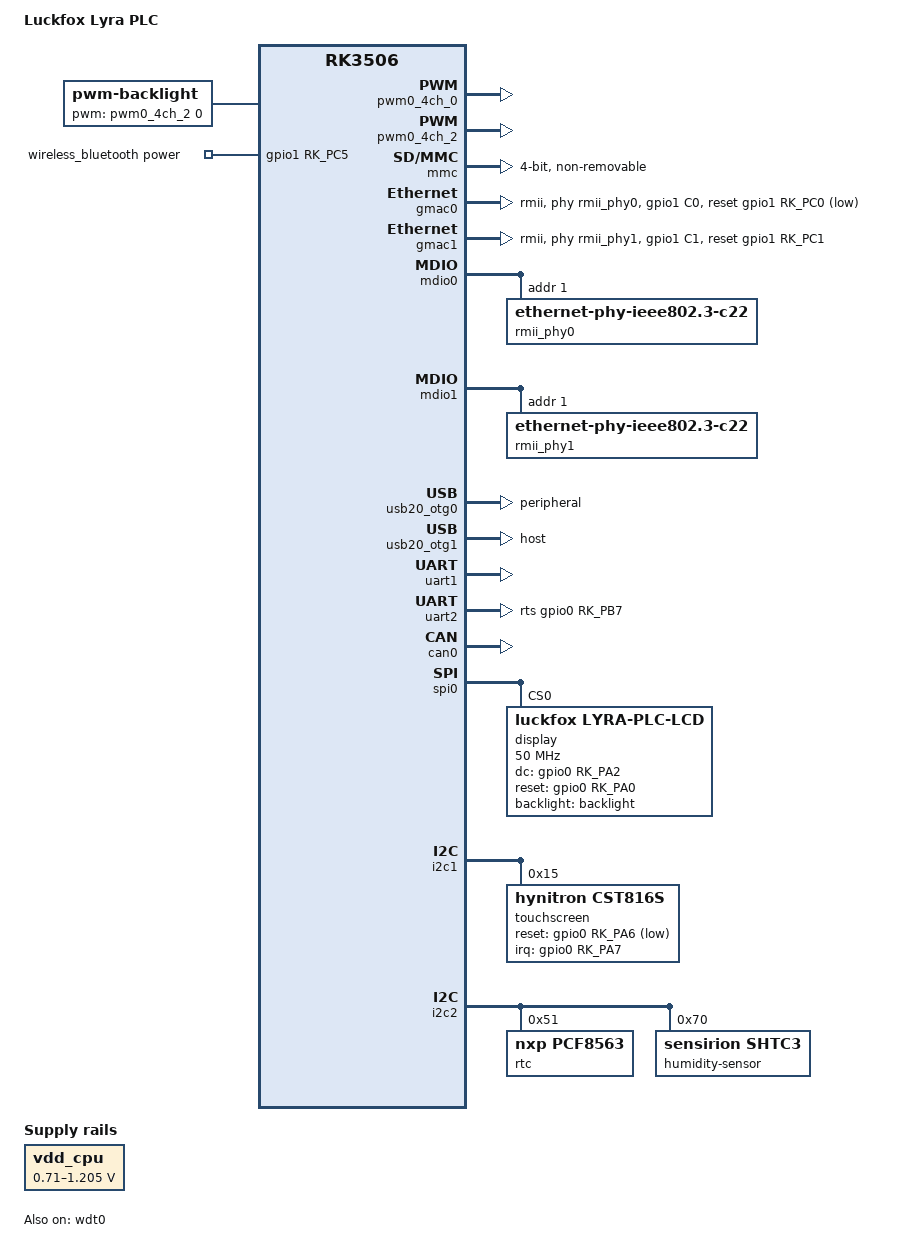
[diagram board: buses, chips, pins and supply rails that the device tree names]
// SPDX-License-Identifier: (GPL-2.0+ OR MIT)
/*
 * Luckfox Lyra PLC: RK3506B, 512 MB DDR3L, 8 GB eMMC, 2x 10/100 Ethernet
 * (CH182H PHYs), RS232 + RS485/RS422 + CAN on the screw terminal, two relays,
 * 1.9" 170x320 ST7789V LCD with CST816 touch, PCF8563-compatible RTC, SHTC3
 * temperature/humidity sensor, AIC8800DC WiFi 6 / BT 5.2 behind a CH334 USB
 * hub, and a PWM-controlled CPU buck.
 *
 * Luckfox publishes no schematic or DTS for this board. Every pin below was
 * taken from the device tree of Luckfox's own Debian image
 * (/sys/firmware/fdt, kernel 6.1.99) on a running board, plus the GPIO
 * numbers their plc_app keeps in /userdata/plc_config.json for the parts it
 * drives from userspace (relays, RS485 driver enable).
 */

/dts-v1/;

#include <dt-bindings/interrupt-controller/irq.h>
#include <dt-bindings/pwm/pwm.h>
#include "rk3506-luckfox-lyra-ultra.dtsi"

/ {
	model = "Luckfox Lyra PLC";
	compatible = "luckfox,lyra-plc", "rockchip,rk3506";

	aliases {
		rtc0 = &rtc;
	};

	backlight: backlight {
		compatible = "pwm-backlight";
		/* 40 kHz, inverted: Luckfox's values, measured in debugfs/pwm. */
		pwms = <&pwm0_4ch_2 0 25000 PWM_POLARITY_INVERTED>;
		brightness-levels = <0 255>;
		num-interpolated-steps = <255>;
		default-brightness-level = <200>;
	};

	wireless_bluetooth: wireless-bluetooth {
		compatible = "bluetooth-platdata";
		BT,power_gpio = <&gpio1 RK_PC5 GPIO_ACTIVE_HIGH>;
		status = "okay";
	};
};

/*
 * The CPU rail is a PWM-controlled buck on this board, not the fixed 0.9 V
 * the Lyra Pi/Ultra dtsi describes. Left as regulator-fixed, cpufreq would
 * run the OPP table up to 1.5 GHz without ever raising the voltage. Values
 * are Luckfox's: continuous mode over the full duty range, 0.71..1.205 V.
 */
&vdd_cpu {
	compatible = "pwm-regulator";
	pwms = <&pwm0_4ch_0 0 5000 PWM_POLARITY_INVERTED>;
	regulator-min-microvolt = <710000>;
	regulator-max-microvolt = <1205000>;
	regulator-init-microvolt = <1011000>;
	/delete-property/ regulator-type;
};

&pwm0_4ch_0 {
	pinctrl-names = "active";
	pinctrl-0 = <&rm_io21_pwm0_ch0>;
	status = "okay";
};

&pwm0_4ch_2 {
	pinctrl-names = "active";
	pinctrl-0 = <&rm_io5_pwm0_ch2>;
	status = "okay";
};

/* Names for the lines userspace drives, so libgpiod can find them by name. */
&gpio0 {
	gpio-line-names =
		/* A0-A7 */ "LCD_RST", "", "LCD_DC", "", "", "", "TP_RST", "TP_INT",
		/* B0-B7 */ "", "", "", "", "", "", "", "RS485_DE",
		/* C0-C7 */ "", "RELAY0", "RELAY1", "", "", "", "", "",
		/* D0-D7 */ "", "", "", "", "", "", "", "";
};

/**********media**********/
&mmc {
	/* eMMC (8 GB) on the single SDMMC controller; no card slot. */
	max-frequency = <52000000>;
	mmc-ddr-1_8v;
	bus-width = <4>;
	supports-emmc;
	cap-mmc-highspeed;
	disable-wp;
	non-removable;
	pinctrl-names = "default";
	pinctrl-0 = <&sdmmc_clk_pins &sdmmc_cmd_pins &sdmmc_bus4_pins>;
	status = "okay";
};

/**********ethernet**********/
/*
 * Same wiring as the Lyra Pi: two CH182H PHYs at MDIO address 1, 25 MHz
 * reference from CLK_MAC_OUT, resets on gpio1 C0 (low) / C1 (high). The
 * clk_mac_refout and widened reset timing are the Lyra Pi cold-boot fixes;
 * see rk3506b-luckfox-lyra-pi.dts for the full reasoning.
 */
&gmac0 {
	clocks = <&cru CLK_MAC0>, <&cru CLK_MAC0_PTP>,
		 <&cru PCLK_MAC0>, <&cru ACLK_MAC0>,
		 <&cru CLK_MAC_OUT>;
	clock-names = "stmmaceth", "ptp_ref",
		      "pclk_mac", "aclk_mac",
		      "clk_mac_refout";
	phy-mode = "rmii";
	clock_in_out = "output";
	assigned-clocks = <&cru CLK_MAC_OUT>;
	assigned-clock-rates = <25000000>;
	snps,reset-gpio = <&gpio1 RK_PC0 GPIO_ACTIVE_LOW>;
	snps,reset-active-low;
	snps,reset-delays-us = <20000 20000 300000>;
	pinctrl-names = "default";
	pinctrl-0 = <&eth_clk0_25m_out_pins
		     &eth_rmii0_miim_pins
		     &eth_rmii0_tx_bus2_pins
		     &eth_rmii0_rx_bus2_pins
		     &eth_rmii0_clk_pins
		     &rmii0_rstn>;
	phy-handle = <&rmii_phy0>;
	status = "okay";
};

&gmac1 {
	clocks = <&cru CLK_MAC1>, <&cru CLK_MAC1_PTP>,
		 <&cru PCLK_MAC1>, <&cru ACLK_MAC1>,
		 <&cru CLK_MAC_OUT>;
	clock-names = "stmmaceth", "ptp_ref",
		      "pclk_mac", "aclk_mac",
		      "clk_mac_refout";
	phy-mode = "rmii";
	clock_in_out = "output";
	snps,reset-gpio = <&gpio1 RK_PC1 GPIO_ACTIVE_HIGH>;
	snps,reset-active-high;
	snps,reset-delays-us = <20000 20000 300000>;
	pinctrl-names = "default";
	pinctrl-0 = <&eth_clk1_25m_out_pins
		     &eth_rmii1_miim_pins
		     &eth_rmii1_tx_bus2_pins
		     &eth_rmii1_rx_bus2_pins
		     &eth_rmii1_clk_pins
		     &rmii1_rstn>;
	phy-handle = <&rmii_phy1>;
	status = "okay";
};

&mdio0 {
	rmii_phy0: phy@1 {
		compatible = "ethernet-phy-ieee802.3-c22";
		reg = <0x1>;
		clocks = <&cru CLK_MAC_OUT>;
		assigned-clocks = <&cru CLK_MAC_OUT>;
		assigned-clock-rates = <25000000>;
	};
};

&mdio1 {
	rmii_phy1: phy@1 {
		compatible = "ethernet-phy-ieee802.3-c22";
		reg = <0x1>;
		clocks = <&cru CLK_MAC_OUT>;
		assigned-clocks = <&cru CLK_MAC_OUT>;
		assigned-clock-rates = <25000000>;
	};
};

/**********usb**********/
/* USB-C: device/gadget port (and maskrom flashing). */
&usb20_otg0 {
	dr_mode = "peripheral";
	status = "okay";
};

/* CH334 hub: USB-A port + the on-board AIC8800DC. Must be host. */
&usb20_otg1 {
	dr_mode = "host";
	status = "okay";
};

/**********field bus**********/
/* RS232 on the screw terminal. */
&uart1 {
	pinctrl-names = "default";
	pinctrl-0 = <&rm_io10_uart1_tx &rm_io11_uart1_rx>;
	status = "okay";
};

/*
 * RS485 / RS422 on the screw terminal. The transceiver's driver enable is on
 * gpio0 B7. Luckfox toggles it from userspace; here the kernel's RS485 mode
 * drives it as RTS through mctrl_gpio, so it is correct for any application
 * (stty, Modbus libraries, ...) without timing games in userspace. Turn RS485
 * off with TIOCSRS485 to use the port as full-duplex RS422.
 */
&uart2 {
	pinctrl-names = "default";
	pinctrl-0 = <&rm_io14_uart2_tx &rm_io16_uart2_rx>;
	rts-gpios = <&gpio0 RK_PB7 GPIO_ACTIVE_HIGH>;
	linux,rs485-enabled-at-boot-time;
	rs485-rts-active-high;
	status = "okay";
};

&can0 {
	pinctrl-names = "default";
	pinctrl-0 = <&rm_io12_can0_tx &rm_io13_can0_rx>;
	status = "okay";
};

/**********display**********/
/*
 * 1.9" 170x320 IPS panel, ST7789V controller, write-only 4-wire SPI (no
 * MISO). Driven by the generic MIPI DBI DRM driver: the init sequence is the
 * firmware file named after the first compatible ("luckfox,lyra-plc-lcd.bin",
 * built by the lyra-plc-lcd-firmware recipe). The ST7789V's RAM is 240x320,
 * the glass is the middle 170 columns, so the panel starts at column 35 --
 * expressed as hback-porch, which is how panel-mipi-dbi takes offsets.
 */
&spi0 {
	pinctrl-names = "default";
	pinctrl-0 = <&rm_io1_spi0_clk &rm_io4_spi0_mosi &rm_io3_spi0_csn0>;
	status = "okay";

	display@0 {
		compatible = "luckfox,lyra-plc-lcd", "panel-mipi-dbi-spi";
		reg = <0>;
		spi-max-frequency = <50000000>;
		dc-gpios = <&gpio0 RK_PA2 GPIO_ACTIVE_HIGH>;
		/*
		 * GPIO_ACTIVE_HIGH on purpose: the MIPI DBI helpers drive "reset"
		 * as 1 = run (mipi_dbi_hw_reset() pulses 0 then leaves it at 1),
		 * so the flag must make logical 1 the panel's physical high. With
		 * GPIO_ACTIVE_LOW the pin sat low, RESX held the panel in reset,
		 * and the screen stayed dark while SPI traffic flowed normally.
		 */
		reset-gpios = <&gpio0 RK_PA0 GPIO_ACTIVE_HIGH>;
		backlight = <&backlight>;
		width-mm = <22>;
		height-mm = <43>;

		panel-timing {
			hactive = <170>;
			vactive = <320>;
			hback-porch = <35>;
			vback-porch = <0>;
			clock-frequency = <0>;
			hfront-porch = <0>;
			hsync-len = <0>;
			vfront-porch = <0>;
			vsync-len = <0>;
		};
	};
};

/* Touch controller for the LCD. */
&i2c1 {
	pinctrl-names = "default";
	pinctrl-0 = <&rm_io9_i2c1_scl &rm_io8_i2c1_sda>;
	status = "okay";

	touchscreen@15 {
		compatible = "hynitron,cst816s";
		reg = <0x15>;
		interrupt-parent = <&gpio0>;
		interrupts = <RK_PA7 IRQ_TYPE_EDGE_FALLING>;
		reset-gpios = <&gpio0 RK_PA6 GPIO_ACTIVE_LOW>;
		touchscreen-size-x = <170>;
		touchscreen-size-y = <320>;
	};
};

/*
 * Luckfox enables I2C0 on the header's "GPIO" pair (gpio1 D2/D3) with nothing
 * on it; it stays off. Note those pins have ~3.2 kOhm pull-ups on the board.
 */
&i2c0 {
	status = "disabled";
};

/*
 * The Cortex-M0 stays off on the PLC: the Lyra Pi's demo firmware drives
 * gpio0_A2, which is the LCD's D/C line here. Firmware for this board enables
 * the node and gives it the clocks and pins of the peripherals it drives (see
 * the mcu node in rk3506-luckfox-lyra-ultra.dtsi).
 */
&mcu_rproc {
	status = "disabled";
};

/*
 * Hardware watchdog. systemd arms it (RuntimeWatchdogSec, RebootWatchdogSec),
 * so a hung system -- or a reboot that stalls on the way down, which has
 * happened -- resets itself instead of waiting for someone to cut the power.
 * The kernel's own restart goes through the same CRU global reset.
 */
&wdt0 {
	status = "okay";
};

/* RTC + temperature/humidity; also on the expansion I2C header. */
&i2c2 {
	pinctrl-names = "default";
	pinctrl-0 = <&rm_io28_i2c2_scl &rm_io29_i2c2_sda>;
	status = "okay";

	/* TCS8563: register-compatible PCF8563 clone. */
	rtc: rtc@51 {
		compatible = "nxp,pcf8563";
		reg = <0x51>;
		#clock-cells = <0>;
	};

	humidity-sensor@70 {
		compatible = "sensirion,shtc3";
		reg = <0x70>;
	};
};

/**********pinctrl**********/
&pinctrl {
	ethernet {
		rmii0_rstn: rmii0-rstn {
			rockchip,pins = <1 RK_PC0 RK_FUNC_GPIO &pcfg_pull_up>;
		};

		rmii1_rstn: rmii1-rstn {
			rockchip,pins = <1 RK_PC1 RK_FUNC_GPIO &pcfg_pull_down>;
		};
	};
};
